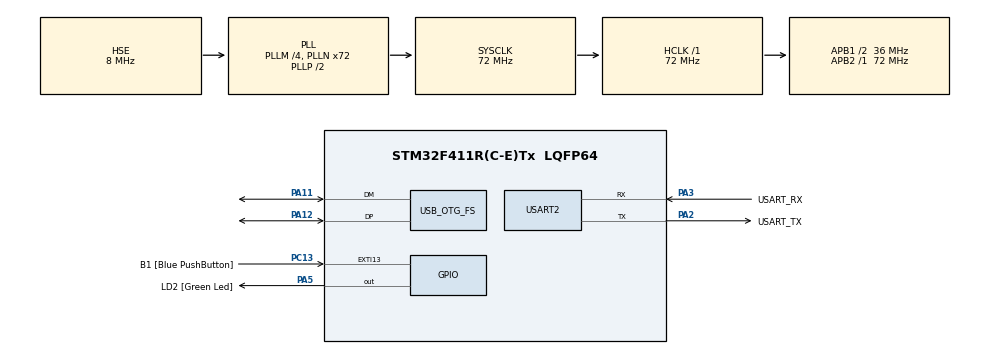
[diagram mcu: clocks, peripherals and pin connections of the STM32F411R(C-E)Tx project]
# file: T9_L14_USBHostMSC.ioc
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FATFS._USE_FIND=1
FATFS._USE_LFN=1
Mcu.Family=STM32F4
Mcu.Name=STM32F411R(C-E)Tx
Mcu.Package=LQFP64
NVIC.OTG_FS_IRQn=true\:0\:0\:false\:false\:true\:false\:true
NVIC.PriorityGroup=NVIC_PRIORITYGROUP_0
PA11.Mode=Host_Only
PA11.Signal=USB_OTG_FS_DM
PA12.Mode=Host_Only
PA12.Signal=USB_OTG_FS_DP
PA13.GPIO_Label=TMS
PA13.Mode=Serial_Wire
PA13.Signal=SYS_JTMS-SWDIO
PA14.GPIO_Label=TCK
PA14.Mode=Serial_Wire
PA14.Signal=SYS_JTCK-SWCLK
PA2.GPIO_Label=USART_TX
PA2.Mode=Asynchronous
PA2.Signal=USART2_TX
PA3.GPIO_Label=USART_RX
PA3.Mode=Asynchronous
PA3.Signal=USART2_RX
PA5.GPIO_Label=LD2 [Green Led]
PA5.Signal=GPIO_Output
PB3.GPIO_Label=SWO
PB3.Signal=SYS_JTDO-SWO
PC13-ANTI_TAMP.GPIO_Label=B1 [Blue PushButton]
PC13-ANTI_TAMP.GPIO_ModeDefaultEXTI=GPIO_MODE_IT_FALLING
PC13-ANTI_TAMP.Signal=GPXTI13
PC14-OSC32_IN.Mode=LSE-External-Oscillator
PC14-OSC32_IN.Signal=RCC_OSC32_IN
PC15-OSC32_OUT.Mode=LSE-External-Oscillator
PC15-OSC32_OUT.Signal=RCC_OSC32_OUT
PH0\ -\ OSC_IN.Mode=HSE-External-Clock-Source
PH0\ -\ OSC_IN.Signal=RCC_OSC_IN
PH1\ -\ OSC_OUT.Mode=HSE-External-Clock-Source
PH1\ -\ OSC_OUT.Signal=RCC_OSC_OUT
ProjectManager.HeapSize=0x800
ProjectManager.StackSize=0x1000
ProjectManager.TargetToolchain=STM32CubeIDE
RCC.48MHZClocksFreq_Value=48000000
RCC.AHBFreq_Value=72000000
RCC.APB1CLKDivider=RCC_HCLK_DIV2
RCC.APB1Freq_Value=36000000
RCC.APB1TimFreq_Value=72000000
RCC.APB2Freq_Value=72000000
RCC.APB2TimFreq_Value=72000000
RCC.CortexFreq_Value=72000000
RCC.FLatency-AdvancedSettings=FLASH_LATENCY_2
RCC.HCLKFreq_Value=72000000
RCC.HSE_VALUE=8000000
RCC.HSI_VALUE=16000000
RCC.PLLM=4
RCC.PLLN=72
RCC.PLLQ=3
RCC.SYSCLKFreq_VALUE=72000000
RCC.SYSCLKSource=RCC_SYSCLKSOURCE_PLLCLK
RCC.VCOOutputFreq_Value=144000000
USART2.VirtualMode=VM_ASYNC
USB_HOST.USBH_HandleTypeDef=hUsbHostFS
USB_HOST.VirtualModeFS=Msc
USB_OTG_FS.VirtualMode=Host_Only
USB_OTG_FS.phy_itface=HCD_PHY_EMBEDDED
VP_FATFS_VS_USB.Mode=USB
VP_USB_HOST_VS_USB_HOST_MSC_FS.Mode=MSC_FS
board=NUCLEO-F411RE

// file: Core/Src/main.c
/* USER CODE BEGIN Header */
/**
  ******************************************************************************
  * @file           : main.c
  * @brief          : Main program body
  ******************************************************************************
  * @attention
  *
  * Copyright (c) 2022 STMicroelectronics.
  * All rights reserved.
  *
  * This software is licensed under terms that can be found in the LICENSE file
  * in the root directory of this software component.
  * If no LICENSE file comes with this software, it is provided AS-IS.
  *
  ******************************************************************************
  */
/* USER CODE END Header */
#include "main.h"
#include "fatfs.h"
#include "usart.h"
#include "usb_host.h"
#include "gpio.h"

/* USER CODE BEGIN PV */
extern ApplicationTypeDef Appli_state;

extern uint8_t retUSBH;    /* Return value for USBH */
extern char USBHPath[4];   /* USBH logical drive path */
extern FATFS USBHFatFS;    /* File system object for USBH logical drive */
extern FIL USBHFile;       /* File object for USBH */

uint8_t Bytes;
char Data[128];
/* USER CODE END PV */

void SystemClock_Config(void);
void MX_USB_HOST_Process(void);

int main(void)
{

  /* MCU Configuration--------------------------------------------------------*/

  /* Reset of all peripherals, Initializes the Flash interface and the Systick. */
  HAL_Init();

  /* Configure the system clock */
  SystemClock_Config();

  /* Initialize all configured peripherals */
  MX_GPIO_Init();
  MX_USART2_UART_Init();
  MX_USB_HOST_Init();
  MX_FATFS_Init();
  /* USER CODE BEGIN 2 */
  uint8_t OneTime = 0;
  /* USER CODE END 2 */

  /* Infinite loop */
  /* USER CODE BEGIN WHILE */
  while (1)
  {
	  switch(Appli_state) {
	  case APPLICATION_IDLE:

		  break;
	  case APPLICATION_START:
		  HAL_GPIO_WritePin(LD2_GPIO_Port,LD2_Pin, SET);
		  retUSBH = f_mount(&USBHFatFS, (const TCHAR*)USBHPath, 0);
		  if(retUSBH != FR_OK)
		  {
		  	  Bytes = sprintf(Data, "FatFS mount error.\n\r");
		  	  HAL_UART_Transmit(&huart2, (uint8_t*)Data, Bytes, 1000);
		  }
		  else
		  {
			  Bytes = sprintf(Data, "FatFS mounted.\n\r");
			  HAL_UART_Transmit(&huart2, (uint8_t*)Data, Bytes, 1000);
		  }
		  break;
	  case APPLICATION_READY:
		  if((OneTime == 0) && (retUSBH == FR_OK))
		  {
			  //
			  // Open file on pendrive for writing
			  //
			  retUSBH = f_open(&USBHFile, "test.txt", FA_WRITE|FA_CREATE_ALWAYS);
			  //
			  // File open error check
			  //
			  if(retUSBH != FR_OK)
			  {
				  Bytes = sprintf(Data, "No test.txt file. Can't create.\n\r");
				  HAL_UART_Transmit(&huart2, (uint8_t*)Data, Bytes, 1000);
			  }
			  else
			  {
				  Bytes = sprintf(Data, "File opened.\n\r");
				  HAL_UART_Transmit(&huart2, (uint8_t*)Data, Bytes, 1000);
				  //
				  //	Print something to this file
				  //
				  for(uint8_t i = 0; i < 10; i++)
				  {
					  f_printf(&USBHFile, "Line number %d.\n", i);
				  }

				  //
				  // Close file
				  //
				  retUSBH = f_close(&USBHFile);

				  Bytes = sprintf(Data, "File closed.\n\r");
				  HAL_UART_Transmit(&huart2, (uint8_t*)Data, Bytes, 1000);

				  retUSBH = f_open(&USBHFile, "test.txt", FA_READ);
				  if(retUSBH != FR_OK)
				  {
					  Bytes = sprintf(Data, "No test.txt file. Can't open \n\r");
					  HAL_UART_Transmit(&huart2, (uint8_t*)Data, Bytes, 1000);
				  }
				  else
				  {
					  UINT len;
					  do
					  {
						  len = 0;
						  f_read(&USBHFile, Data, 10, &len);
						  HAL_UART_Transmit(&huart2, (uint8_t*)Data, len, 1000);
					  }while(len >0);
					  retUSBH = f_close(&USBHFile);
				  }
			  }
			  OneTime = 1;
		  }
		  break;
	  case APPLICATION_DISCONNECT:
		  HAL_GPIO_WritePin(LD2_GPIO_Port,LD2_Pin, RESET);
		  OneTime = 0;
		  break;
	  default:
		  break;
	  }

    /* USER CODE END WHILE */
    MX_USB_HOST_Process();

  }
}

void SystemClock_Config(void)
{
  RCC_OscInitTypeDef RCC_OscInitStruct = {0};
  RCC_ClkInitTypeDef RCC_ClkInitStruct = {0};

  /** Configure the main internal regulator output voltage
  */
  __HAL_RCC_PWR_CLK_ENABLE();
  __HAL_PWR_VOLTAGESCALING_CONFIG(PWR_REGULATOR_VOLTAGE_SCALE1);
  /** Initializes the RCC Oscillators according to the specified parameters
  * in the RCC_OscInitTypeDef structure.
  */
  RCC_OscInitStruct.OscillatorType = RCC_OSCILLATORTYPE_HSE;
  RCC_OscInitStruct.HSEState = RCC_HSE_BYPASS;
  RCC_OscInitStruct.PLL.PLLState = RCC_PLL_ON;
  RCC_OscInitStruct.PLL.PLLSource = RCC_PLLSOURCE_HSE;
  RCC_OscInitStruct.PLL.PLLM = 4;
  RCC_OscInitStruct.PLL.PLLN = 72;
  RCC_OscInitStruct.PLL.PLLP = RCC_PLLP_DIV2;
  RCC_OscInitStruct.PLL.PLLQ = 3;
  if (HAL_RCC_OscConfig(&RCC_OscInitStruct) != HAL_OK)
  {
    Error_Handler();
  }
  /** Initializes the CPU, AHB and APB buses clocks
  */
  RCC_ClkInitStruct.ClockType = RCC_CLOCKTYPE_HCLK|RCC_CLOCKTYPE_SYSCLK
                              |RCC_CLOCKTYPE_PCLK1|RCC_CLOCKTYPE_PCLK2;
  RCC_ClkInitStruct.SYSCLKSource = RCC_SYSCLKSOURCE_PLLCLK;
  RCC_ClkInitStruct.AHBCLKDivider = RCC_SYSCLK_DIV1;
  RCC_ClkInitStruct.APB1CLKDivider = RCC_HCLK_DIV2;
  RCC_ClkInitStruct.APB2CLKDivider = RCC_HCLK_DIV1;

  if (HAL_RCC_ClockConfig(&RCC_ClkInitStruct, FLASH_LATENCY_2) != HAL_OK)
  {
    Error_Handler();
  }
}

void Error_Handler(void)
{
  __disable_irq();
  while (1)
  {
  }
}
